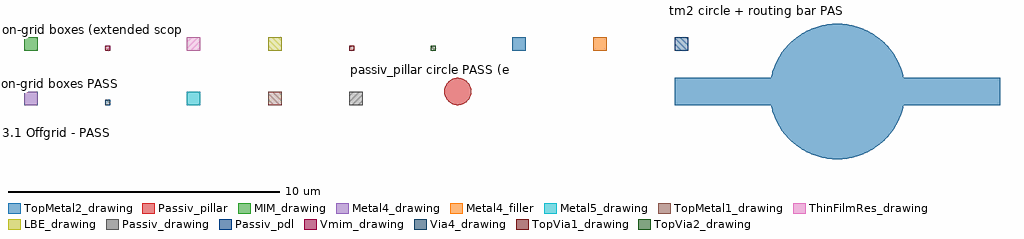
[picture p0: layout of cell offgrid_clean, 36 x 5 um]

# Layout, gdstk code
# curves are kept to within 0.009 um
import gdstk
lib = gdstk.Library(unit=1e-6, precision=1e-09)
def R(c, l, rs):  # rectangles x0, y0, x1, y1
    for r in rs: c.add(gdstk.rectangle(r[:2], r[2:], *l))
def P(c, l, *ps):  # polygons
    for p in ps: c.add(gdstk.Polygon(p, *l))
Passiv_drawing = (9, 0)
Passiv_pillar = (9, 35)
Passiv_pdl = (9, 40)
MIM_drawing = (36, 0)
Metal4_drawing = (50, 0)
Metal4_filler = (50, 22)
Via4_drawing = (66, 0)
Metal5_drawing = (67, 0)
TopVia1_drawing = (125, 0)
TopMetal1_drawing = (126, 0)
Vmim_drawing = (129, 0)
TopVia2_drawing = (133, 0)
TopMetal2_drawing = (134, 0)
ThinFilmRes_drawing = (146, 0)
LBE_drawing = (157, 0)

offgrid_clean = lib.new_cell('offgrid_clean')
R(offgrid_clean, Passiv_drawing, [(12,0,12.5,0.5)])
P(offgrid_clean, Passiv_pillar, [(16,0),(15.902,0.01),(15.809,0.038),(15.722,0.084),(15.646,0.146),(15.584,0.222),(15.538,0.309),(15.51,0.402),(15.5,0.5),(15.51,0.598),(15.538,0.691),(15.584,0.778),(15.646,0.854),(15.722,0.916),(15.809,0.962),(15.902,0.99),(16,1),(16.098,0.99),(16.191,0.962),(16.278,0.916),(16.354,0.854),(16.416,0.778),(16.462,0.691),(16.49,0.598),(16.5,0.5),(16.49,0.402),(16.462,0.309),(16.416,0.222),(16.354,0.146),(16.278,0.084),(16.191,0.038),(16.098,0.01)])
R(offgrid_clean, Passiv_pdl, [(24,2,24.5,2.5)])
R(offgrid_clean, MIM_drawing, [(0,2,0.5,2.5)])
R(offgrid_clean, Metal4_drawing, [(0,0,0.5,0.5)])
R(offgrid_clean, Metal4_filler, [(21,2,21.5,2.5)])
R(offgrid_clean, Via4_drawing, [(3,0,3.19,0.19)])
R(offgrid_clean, Metal5_drawing, [(6,0,6.5,0.5)])
R(offgrid_clean, TopVia1_drawing, [(12,2,12.19,2.19)])
R(offgrid_clean, TopMetal1_drawing, [(9,0,9.5,0.5)])
R(offgrid_clean, Vmim_drawing, [(3,2,3.19,2.19)])
R(offgrid_clean, TopVia2_drawing, [(15,2,15.19,2.19)])
R(offgrid_clean, TopMetal2_drawing, [(24,0,36,1), (18,2,18.5,2.5)])
P(offgrid_clean, TopMetal2_drawing, [(30,-2),(29.755,-1.988),(29.512,-1.952),(29.274,-1.892),(29.043,-1.81),(28.822,-1.705),(28.611,-1.579),(28.414,-1.433),(28.232,-1.268),(28.067,-1.086),(27.921,-0.889),(27.795,-0.678),(27.69,-0.457),(27.608,-0.226),(27.548,0.012),(27.512,0.255),(27.5,0.5),(27.512,0.745),(27.548,0.988),(27.608,1.226),(27.69,1.457),(27.795,1.678),(27.921,1.889),(28.067,2.086),(28.232,2.268),(28.414,2.433),(28.611,2.579),(28.822,2.705),(29.043,2.81),(29.274,2.892),(29.512,2.952),(29.755,2.988),(30,3),(30.245,2.988),(30.488,2.952),(30.726,2.892),(30.957,2.81),(31.178,2.705),(31.389,2.579),(31.586,2.433),(31.768,2.268),(31.933,2.086),(32.079,1.889),(32.205,1.678),(32.31,1.457),(32.392,1.226),(32.452,0.988),(32.488,0.745),(32.5,0.5),(32.488,0.255),(32.452,0.012),(32.392,-0.226),(32.31,-0.457),(32.205,-0.678),(32.079,-0.889),(31.933,-1.086),(31.768,-1.268),(31.586,-1.433),(31.389,-1.579),(31.178,-1.705),(30.957,-1.81),(30.726,-1.892),(30.488,-1.952),(30.245,-1.988)])
R(offgrid_clean, ThinFilmRes_drawing, [(6,2,6.5,2.5)])
R(offgrid_clean, LBE_drawing, [(9,2,9.5,2.5)])
offgrid_clean.add(gdstk.Label('3.1 Offgrid - PASS', (0,-1), layer=63, texttype=0))
offgrid_clean.add(gdstk.Label('on-grid boxes PASS', (0,0.8), layer=63, texttype=0))
offgrid_clean.add(gdstk.Label('on-grid boxes (extended scope) PASS', (0,2.8), layer=63, texttype=0))
offgrid_clean.add(gdstk.Label('passiv_pillar circle PASS (exempt)', (15,1.3), layer=63, texttype=0))
offgrid_clean.add(gdstk.Label('tm2 circle + routing bar PASS (raw exempt)', (27,3.5), layer=63, texttype=0))

lib.write_gds('offgrid_clean.gds')
